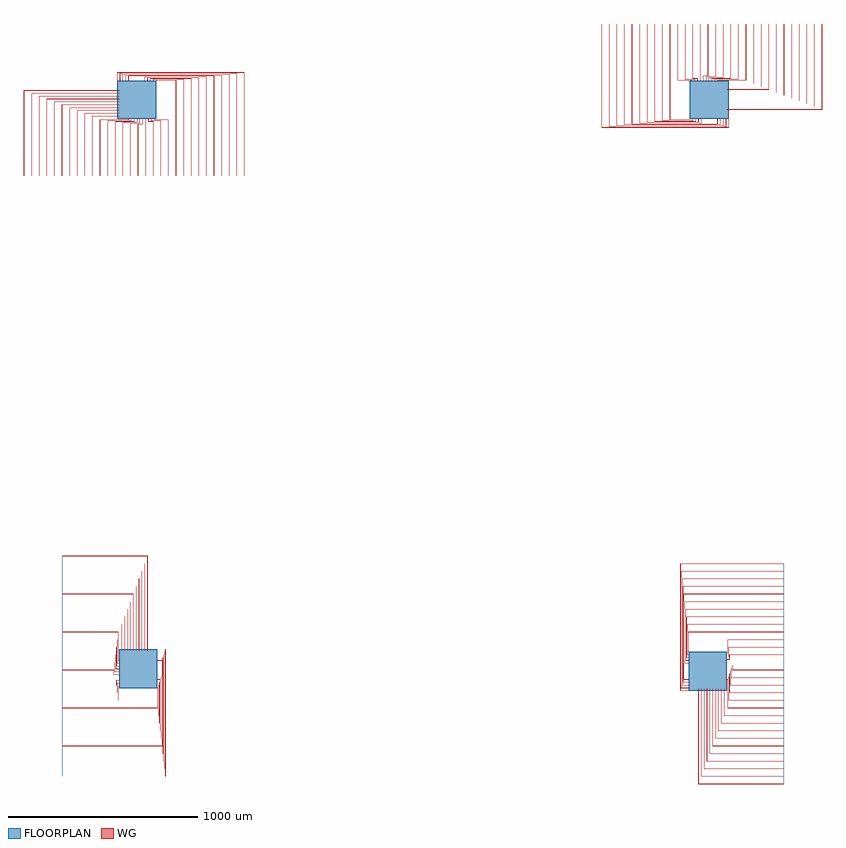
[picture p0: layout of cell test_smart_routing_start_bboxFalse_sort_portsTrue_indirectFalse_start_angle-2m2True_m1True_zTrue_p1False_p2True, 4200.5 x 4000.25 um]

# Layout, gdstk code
import gdstk
lib = gdstk.Library(unit=1e-6, precision=1e-09)
def R(c, l, rs):  # rectangles x0, y0, x1, y1
    for r in rs: c.add(gdstk.rectangle(r[:2], r[2:], *l))
def P(c, l, *ps):  # polygons
    for p in ps: c.add(gdstk.Polygon(p, *l))
WG = (1, 0)
FLOORPLAN = (10, 0)

test_smart_routing_start = lib.new_cell('test_smart_routing_start_bboxFalse_sort_portsTrue_indirectFalse_start_angle-2m2True_m1True_zTrue_p1False_p2True')
R(test_smart_routing_start, WG, [(-400,-40.25,-100,-39.75), (3100,39.75,3400,40.25), (39.75,2600,40.25,2900), (2959.75,3100,2960.25,3400)])
P(test_smart_routing_start, WG, [(3100,2949.75),(3100,2950.25),(3599.75,2950.25),(3599.75,3400),(3600.25,3400),(3600.25,2949.75)],
  [(3100,2964.75),(3100,2965.25),(3559.75,2965.25),(3559.75,3400),(3560.25,3400),(3560.25,2964.75)],
  [(3100,2979.75),(3100,2980.25),(3519.75,2980.25),(3519.75,3400),(3520.25,3400),(3520.25,2979.75)],
  [(3100,2994.75),(3100,2995.25),(3479.75,2995.25),(3479.75,3400),(3480.25,3400),(3480.25,2994.75)],
  [(3100,3009.75),(3100,3010.25),(3439.75,3010.25),(3439.75,3400),(3440.25,3400),(3440.25,3009.75)],
  [(3100,3024.75),(3100,3025.25),(3399.75,3025.25),(3399.75,3400),(3400.25,3400),(3400.25,3024.75)],
  [(3100,3039.75),(3100,3040.25),(3359.75,3040.25),(3359.75,3400),(3360.25,3400),(3360.25,3039.75)],
  [(3100,3054.75),(3100,3055.25),(3319.75,3055.25),(3319.75,3400),(3320.25,3400),(3320.25,3054.75)],
  [(3100,3069.75),(3100,3070.25),(3279.75,3070.25),(3279.75,3400),(3280.25,3400),(3280.25,3069.75)],
  [(3100,3084.75),(3100,3085.25),(3239.75,3085.25),(3239.75,3400),(3240.25,3400),(3240.25,3084.75)],
  [(3049.75,3100),(3049.75,3104.5),(3199.75,3104.5),(3199.75,3400),(3200.25,3400),(3200.25,3104),(3050.25,3104),(3050.25,3100)],
  [(3034.75,3100),(3034.75,3109),(3159.75,3109),(3159.75,3400),(3160.25,3400),(3160.25,3108.5),(3035.25,3108.5),(3035.25,3100)],
  [(3019.75,3100),(3019.75,3113.5),(3119.75,3113.5),(3119.75,3400),(3120.25,3400),(3120.25,3113),(3020.25,3113),(3020.25,3100)],
  [(3004.75,3100),(3004.75,3118),(3079.75,3118),(3079.75,3400),(3080.25,3400),(3080.25,3117.5),(3005.25,3117.5),(3005.25,3100)],
  [(2989.75,3100),(2989.75,3122.5),(3039.75,3122.5),(3039.75,3400),(3040.25,3400),(3040.25,3122),(2990.25,3122),(2990.25,3100)],
  [(2974.75,3100),(2974.75,3127),(2999.75,3127),(2999.75,3400),(3000.25,3400),(3000.25,3126.5),(2975.25,3126.5),(2975.25,3100)],
  [(2944.75,3100),(2944.75,3113),(2919.75,3113),(2919.75,3400),(2920.25,3400),(2920.25,3113.5),(2945.25,3113.5),(2945.25,3100)],
  [(2929.75,3100),(2929.75,3108.5),(2879.75,3108.5),(2879.75,3400),(2880.25,3400),(2880.25,3109),(2930.25,3109),(2930.25,3100)],
  [(2914.75,3100),(2914.75,3104),(2839.75,3104),(2839.75,3400),(2840.25,3400),(2840.25,3104.5),(2915.25,3104.5),(2915.25,3100)],
  [(2799.75,2895.5),(2799.75,3400),(2800.25,3400),(2800.25,2896),(2904.75,2896),(2904.75,2900),(2905.25,2900),(2905.25,2895.5)],
  [(2759.75,2891),(2759.75,3400),(2760.25,3400),(2760.25,2891.5),(2919.75,2891.5),(2919.75,2900),(2920.25,2900),(2920.25,2891)],
  [(2719.75,2886.5),(2719.75,3400),(2720.25,3400),(2720.25,2887),(2934.75,2887),(2934.75,2900),(2935.25,2900),(2935.25,2886.5)],
  [(2679.75,2882),(2679.75,3400),(2680.25,3400),(2680.25,2882.5),(2949.75,2882.5),(2949.75,2900),(2950.25,2900),(2950.25,2882)],
  [(2639.75,2877.5),(2639.75,3400),(2640.25,3400),(2640.25,2878),(2964.75,2878),(2964.75,2900),(2965.25,2900),(2965.25,2877.5)],
  [(2599.75,2873),(2599.75,3400),(2600.25,3400),(2600.25,2873.5),(3049.75,2873.5),(3049.75,2900),(3050.25,2900),(3050.25,2873)],
  [(2559.75,2868.5),(2559.75,3400),(2560.25,3400),(2560.25,2869),(3064.75,2869),(3064.75,2900),(3065.25,2900),(3065.25,2868.5)],
  [(2519.75,2864),(2519.75,3400),(2520.25,3400),(2520.25,2864.5),(3079.75,2864.5),(3079.75,2900),(3080.25,2900),(3080.25,2864)],
  [(2479.75,2859.5),(2479.75,3400),(2480.25,3400),(2480.25,2860),(3094.75,2860),(3094.75,2900),(3095.25,2900),(3095.25,2859.5)],
  [(2439.75,2855),(2439.75,3400),(2440.25,3400),(2440.25,2855.5),(3109.75,2855.5),(3109.75,2900),(3110.25,2900),(3110.25,2855)],
  [(-600.25,2600),(-600.25,3050.25),(-100,3050.25),(-100,3049.75),(-599.75,3049.75),(-599.75,2600)],
  [(-560.25,2600),(-560.25,3035.25),(-100,3035.25),(-100,3034.75),(-559.75,3034.75),(-559.75,2600)],
  [(-520.25,2600),(-520.25,3020.25),(-100,3020.25),(-100,3019.75),(-519.75,3019.75),(-519.75,2600)],
  [(-480.25,2600),(-480.25,3005.25),(-100,3005.25),(-100,3004.75),(-479.75,3004.75),(-479.75,2600)],
  [(-440.25,2600),(-440.25,2990.25),(-100,2990.25),(-100,2989.75),(-439.75,2989.75),(-439.75,2600)],
  [(-400.25,2600),(-400.25,2975.25),(-100,2975.25),(-100,2974.75),(-399.75,2974.75),(-399.75,2600)],
  [(-360.25,2600),(-360.25,2960.25),(-100,2960.25),(-100,2959.75),(-359.75,2959.75),(-359.75,2600)],
  [(-320.25,2600),(-320.25,2945.25),(-100,2945.25),(-100,2944.75),(-319.75,2944.75),(-319.75,2600)],
  [(-280.25,2600),(-280.25,2930.25),(-100,2930.25),(-100,2929.75),(-279.75,2929.75),(-279.75,2600)],
  [(-240.25,2600),(-240.25,2915.25),(-100,2915.25),(-100,2914.75),(-239.75,2914.75),(-239.75,2600)],
  [(-200.25,2600),(-200.25,2896),(-50.25,2896),(-50.25,2900),(-49.75,2900),(-49.75,2895.5),(-199.75,2895.5),(-199.75,2600)],
  [(-160.25,2600),(-160.25,2891.5),(-35.25,2891.5),(-35.25,2900),(-34.75,2900),(-34.75,2891),(-159.75,2891),(-159.75,2600)],
  [(-120.25,2600),(-120.25,2887),(-20.25,2887),(-20.25,2900),(-19.75,2900),(-19.75,2886.5),(-119.75,2886.5),(-119.75,2600)],
  [(-80.25,2600),(-80.25,2882.5),(-5.25,2882.5),(-5.25,2900),(-4.75,2900),(-4.75,2882),(-79.75,2882),(-79.75,2600)],
  [(-40.25,2600),(-40.25,2878),(9.75,2878),(9.75,2900),(10.25,2900),(10.25,2877.5),(-39.75,2877.5),(-39.75,2600)],
  [(-0.25,2600),(-0.25,2873.5),(24.75,2873.5),(24.75,2900),(25.25,2900),(25.25,2873),(0.25,2873),(0.25,2600)],
  [(79.75,2600),(79.75,2886.5),(54.75,2886.5),(54.75,2900),(55.25,2900),(55.25,2887),(80.25,2887),(80.25,2600)],
  [(119.75,2600),(119.75,2891),(69.75,2891),(69.75,2900),(70.25,2900),(70.25,2891.5),(120.25,2891.5),(120.25,2600)],
  [(159.75,2600),(159.75,2895.5),(84.75,2895.5),(84.75,2900),(85.25,2900),(85.25,2896),(160.25,2896),(160.25,2600)],
  [(199.75,2600),(199.75,3104),(95.25,3104),(95.25,3100),(94.75,3100),(94.75,3104.5),(200.25,3104.5),(200.25,2600)],
  [(239.75,2600),(239.75,3108.5),(80.25,3108.5),(80.25,3100),(79.75,3100),(79.75,3109),(240.25,3109),(240.25,2600)],
  [(279.75,2600),(279.75,3113),(65.25,3113),(65.25,3100),(64.75,3100),(64.75,3113.5),(280.25,3113.5),(280.25,2600)],
  [(319.75,2600),(319.75,3117.5),(50.25,3117.5),(50.25,3100),(49.75,3100),(49.75,3118),(320.25,3118),(320.25,2600)],
  [(359.75,2600),(359.75,3122),(35.25,3122),(35.25,3100),(34.75,3100),(34.75,3122.5),(360.25,3122.5),(360.25,2600)],
  [(399.75,2600),(399.75,3126.5),(-49.75,3126.5),(-49.75,3100),(-50.25,3100),(-50.25,3127),(400.25,3127),(400.25,2600)],
  [(439.75,2600),(439.75,3131),(-64.75,3131),(-64.75,3100),(-65.25,3100),(-65.25,3131.5),(440.25,3131.5),(440.25,2600)],
  [(479.75,2600),(479.75,3135.5),(-79.75,3135.5),(-79.75,3100),(-80.25,3100),(-80.25,3136),(480.25,3136),(480.25,2600)],
  [(519.75,2600),(519.75,3140),(-94.75,3140),(-94.75,3100),(-95.25,3100),(-95.25,3140.5),(520.25,3140.5),(520.25,2600)],
  [(559.75,2600),(559.75,3144.5),(-109.75,3144.5),(-109.75,3100),(-110.25,3100),(-110.25,3145),(560.25,3145),(560.25,2600)],
  [(49.75,100),(49.75,599.75),(-400,599.75),(-400,600.25),(50.25,600.25),(50.25,100)],
  [(34.75,100),(34.75,559.75),(-400,559.75),(-400,560.25),(35.25,560.25),(35.25,100)],
  [(19.75,100),(19.75,519.75),(-400,519.75),(-400,520.25),(20.25,520.25),(20.25,100)],
  [(4.75,100),(4.75,479.75),(-400,479.75),(-400,480.25),(5.25,480.25),(5.25,100)],
  [(-10.25,100),(-10.25,439.75),(-400,439.75),(-400,440.25),(-9.75,440.25),(-9.75,100)],
  [(-25.25,100),(-25.25,399.75),(-400,399.75),(-400,400.25),(-24.75,400.25),(-24.75,100)],
  [(-40.25,100),(-40.25,359.75),(-400,359.75),(-400,360.25),(-39.75,360.25),(-39.75,100)],
  [(-55.25,100),(-55.25,319.75),(-400,319.75),(-400,320.25),(-54.75,320.25),(-54.75,100)],
  [(-70.25,100),(-70.25,279.75),(-400,279.75),(-400,280.25),(-69.75,280.25),(-69.75,100)],
  [(-85.25,100),(-85.25,239.75),(-400,239.75),(-400,240.25),(-84.75,240.25),(-84.75,100)],
  [(-104.5,49.75),(-104.5,199.75),(-400,199.75),(-400,200.25),(-104,200.25),(-104,50.25),(-100,50.25),(-100,49.75)],
  [(-109,34.75),(-109,159.75),(-400,159.75),(-400,160.25),(-108.5,160.25),(-108.5,35.25),(-100,35.25),(-100,34.75)],
  [(-113.5,19.75),(-113.5,119.75),(-400,119.75),(-400,120.25),(-113,120.25),(-113,20.25),(-100,20.25),(-100,19.75)],
  [(-118,4.75),(-118,79.75),(-400,79.75),(-400,80.25),(-117.5,80.25),(-117.5,5.25),(-100,5.25),(-100,4.75)],
  [(-122.5,-10.25),(-122.5,39.75),(-400,39.75),(-400,40.25),(-122,40.25),(-122,-9.75),(-100,-9.75),(-100,-10.25)],
  [(-127,-25.25),(-127,-0.25),(-400,-0.25),(-400,0.25),(-126.5,0.25),(-126.5,-24.75),(-100,-24.75),(-100,-25.25)],
  [(-400,-80.25),(-400,-79.75),(-113.5,-79.75),(-113.5,-54.75),(-100,-54.75),(-100,-55.25),(-113,-55.25),(-113,-80.25)],
  [(-400,-120.25),(-400,-119.75),(-109,-119.75),(-109,-69.75),(-100,-69.75),(-100,-70.25),(-108.5,-70.25),(-108.5,-120.25)],
  [(-400,-160.25),(-400,-159.75),(-104.5,-159.75),(-104.5,-84.75),(-100,-84.75),(-100,-85.25),(-104,-85.25),(-104,-160.25)],
  [(-400,-200.25),(-400,-199.75),(104,-199.75),(104,-95.25),(100,-95.25),(100,-94.75),(104.5,-94.75),(104.5,-200.25)],
  [(-400,-240.25),(-400,-239.75),(108.5,-239.75),(108.5,-80.25),(100,-80.25),(100,-79.75),(109,-79.75),(109,-240.25)],
  [(-400,-280.25),(-400,-279.75),(113,-279.75),(113,-65.25),(100,-65.25),(100,-64.75),(113.5,-64.75),(113.5,-280.25)],
  [(-400,-320.25),(-400,-319.75),(117.5,-319.75),(117.5,-50.25),(100,-50.25),(100,-49.75),(118,-49.75),(118,-320.25)],
  [(-400,-360.25),(-400,-359.75),(122,-359.75),(122,-35.25),(100,-35.25),(100,-34.75),(122.5,-34.75),(122.5,-360.25)],
  [(-400,-400.25),(-400,-399.75),(126.5,-399.75),(126.5,49.75),(100,49.75),(100,50.25),(127,50.25),(127,-400.25)],
  [(-400,-440.25),(-400,-439.75),(131,-439.75),(131,64.75),(100,64.75),(100,65.25),(131.5,65.25),(131.5,-440.25)],
  [(-400,-480.25),(-400,-479.75),(135.5,-479.75),(135.5,79.75),(100,79.75),(100,80.25),(136,80.25),(136,-480.25)],
  [(-400,-520.25),(-400,-519.75),(140,-519.75),(140,94.75),(100,94.75),(100,95.25),(140.5,95.25),(140.5,-520.25)],
  [(-400,-560.25),(-400,-559.75),(144.5,-559.75),(144.5,109.75),(100,109.75),(100,110.25),(145,110.25),(145,-560.25)],
  [(2949.75,-600.25),(2949.75,-100),(2950.25,-100),(2950.25,-599.75),(3400,-599.75),(3400,-600.25)],
  [(2964.75,-560.25),(2964.75,-100),(2965.25,-100),(2965.25,-559.75),(3400,-559.75),(3400,-560.25)],
  [(2979.75,-520.25),(2979.75,-100),(2980.25,-100),(2980.25,-519.75),(3400,-519.75),(3400,-520.25)],
  [(2994.75,-480.25),(2994.75,-100),(2995.25,-100),(2995.25,-479.75),(3400,-479.75),(3400,-480.25)],
  [(3009.75,-440.25),(3009.75,-100),(3010.25,-100),(3010.25,-439.75),(3400,-439.75),(3400,-440.25)],
  [(3024.75,-400.25),(3024.75,-100),(3025.25,-100),(3025.25,-399.75),(3400,-399.75),(3400,-400.25)],
  [(3039.75,-360.25),(3039.75,-100),(3040.25,-100),(3040.25,-359.75),(3400,-359.75),(3400,-360.25)],
  [(3054.75,-320.25),(3054.75,-100),(3055.25,-100),(3055.25,-319.75),(3400,-319.75),(3400,-320.25)],
  [(3069.75,-280.25),(3069.75,-100),(3070.25,-100),(3070.25,-279.75),(3400,-279.75),(3400,-280.25)],
  [(3084.75,-240.25),(3084.75,-100),(3085.25,-100),(3085.25,-239.75),(3400,-239.75),(3400,-240.25)],
  [(3104,-200.25),(3104,-50.25),(3100,-50.25),(3100,-49.75),(3104.5,-49.75),(3104.5,-199.75),(3400,-199.75),(3400,-200.25)],
  [(3108.5,-160.25),(3108.5,-35.25),(3100,-35.25),(3100,-34.75),(3109,-34.75),(3109,-159.75),(3400,-159.75),(3400,-160.25)],
  [(3113,-120.25),(3113,-20.25),(3100,-20.25),(3100,-19.75),(3113.5,-19.75),(3113.5,-119.75),(3400,-119.75),(3400,-120.25)],
  [(3117.5,-80.25),(3117.5,-5.25),(3100,-5.25),(3100,-4.75),(3118,-4.75),(3118,-79.75),(3400,-79.75),(3400,-80.25)],
  [(3122,-40.25),(3122,9.75),(3100,9.75),(3100,10.25),(3122.5,10.25),(3122.5,-39.75),(3400,-39.75),(3400,-40.25)],
  [(3126.5,-0.25),(3126.5,24.75),(3100,24.75),(3100,25.25),(3127,25.25),(3127,0.25),(3400,0.25),(3400,-0.25)],
  [(3100,54.75),(3100,55.25),(3113,55.25),(3113,80.25),(3400,80.25),(3400,79.75),(3113.5,79.75),(3113.5,54.75)],
  [(3100,69.75),(3100,70.25),(3108.5,70.25),(3108.5,120.25),(3400,120.25),(3400,119.75),(3109,119.75),(3109,69.75)],
  [(3100,84.75),(3100,85.25),(3104,85.25),(3104,160.25),(3400,160.25),(3400,159.75),(3104.5,159.75),(3104.5,84.75)],
  [(2895.5,94.75),(2895.5,200.25),(3400,200.25),(3400,199.75),(2896,199.75),(2896,95.25),(2900,95.25),(2900,94.75)],
  [(2891,79.75),(2891,240.25),(3400,240.25),(3400,239.75),(2891.5,239.75),(2891.5,80.25),(2900,80.25),(2900,79.75)],
  [(2886.5,64.75),(2886.5,280.25),(3400,280.25),(3400,279.75),(2887,279.75),(2887,65.25),(2900,65.25),(2900,64.75)],
  [(2882,49.75),(2882,320.25),(3400,320.25),(3400,319.75),(2882.5,319.75),(2882.5,50.25),(2900,50.25),(2900,49.75)],
  [(2877.5,34.75),(2877.5,360.25),(3400,360.25),(3400,359.75),(2878,359.75),(2878,35.25),(2900,35.25),(2900,34.75)],
  [(2873,-50.25),(2873,400.25),(3400,400.25),(3400,399.75),(2873.5,399.75),(2873.5,-49.75),(2900,-49.75),(2900,-50.25)],
  [(2868.5,-65.25),(2868.5,440.25),(3400,440.25),(3400,439.75),(2869,439.75),(2869,-64.75),(2900,-64.75),(2900,-65.25)],
  [(2864,-80.25),(2864,480.25),(3400,480.25),(3400,479.75),(2864.5,479.75),(2864.5,-79.75),(2900,-79.75),(2900,-80.25)],
  [(2859.5,-95.25),(2859.5,520.25),(3400,520.25),(3400,519.75),(2860,519.75),(2860,-94.75),(2900,-94.75),(2900,-95.25)],
  [(2855,-110.25),(2855,560.25),(3400,560.25),(3400,559.75),(2855.5,559.75),(2855.5,-109.75),(2900,-109.75),(2900,-110.25)])
R(test_smart_routing_start, FLOORPLAN, [(2900,-110,3100,95), (-100,-95,100,110), (-110,2900,95,3100), (2905,2900,3110,3100)])
P(test_smart_routing_start, FLOORPLAN, [(-400,-560),(-400,600),(-400,600),(-400,-560)],
  [(-600,2600),(-600,2600),(560,2600),(560,2600)],
  [(3400,-600),(3400,560),(3400,560),(3400,-600)],
  [(2440,3400),(2440,3400),(3600,3400),(3600,3400)])

lib.write_gds('test_smart_routing_start_bboxFalse_sort_portsTrue_indirectFalse_start_angle-2m2True_m1True_zTrue_p1False_p2True.gds')
